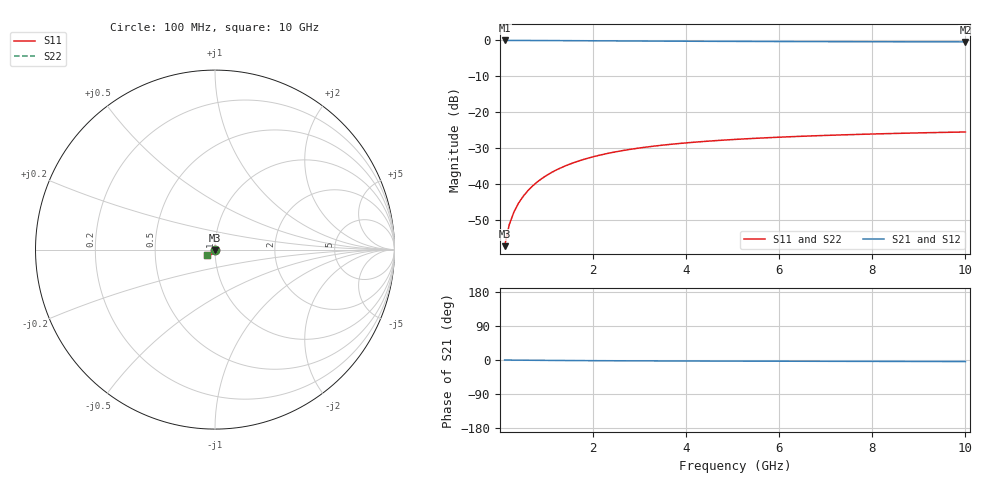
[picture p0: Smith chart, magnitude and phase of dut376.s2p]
! Touchstone file exported from HFSS 2024.1.0
!  File:  C:/UserFiles/LocalFiles/RDL_TSV_Batchsim/temp_TSV1_376_1779622369.aedt
!  Generated:  07:38:21 PM May 24, 2026
!  Design:  TSV1
!  Project:  temp_TSV1_376_1779622369
!  Setup:  Setup1
!  Solution:  Sweep
! Variables:
!  dtsv = 14.16um
!  hbump = 3um
!  htsv = 58.5um
!  lrdl = 252.1521522um
!  p = 40
!  p1 = 41.36um
!  t = 500um
!  trdl = 3um
!  wrdl = 24.89489489um
# GHz S MA R 50.000000
! Terminal data exported
! Port[1] = TSV22_T1
! Port[2] = TSV22_T2
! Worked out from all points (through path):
!   100 points, 100 MHz to 10 GHz, reference 50 ohm
!   highest |S21| = 0.00 dB at 100 MHz (marker M1); lowest = -0.4 dB at 10 GHz (marker M2)
!   lowest |S11| = -57.3 dB at 100 MHz (marker M3), VSWR 1.00, Z = 50 - j0.136 ohm
!   |S11| at or under -10 dB: start of sweep to end of sweep
!   |S22| runs from -57.3 to -25.5 dB; largest |S21 - S12| = 3.1e-15
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0.1  0.001358 -88.3  0.9999 -0.1  0.9999 -0.1  0.001358 -88.3
! Gamma 0 0 0 0
! Port Impedance 50 0 50 0
0.2  0.002711 -91.4  0.9998 -0.2  0.9998 -0.2  0.002711 -91.4
0.3  0.004061 -93.5  0.9996 -0.3  0.9996 -0.3  0.004061 -93.5
0.4  0.005405 -95.2  0.9994 -0.4  0.9994 -0.4  0.005405 -95.2
0.5  0.006738 -96.8  0.9991 -0.5  0.9991 -0.5  0.006738 -96.8
0.6  0.008058 -98.3  0.9987 -0.6  0.9987 -0.6  0.008058 -98.3
0.7  0.00936 -99.7  0.9983 -0.7  0.9983 -0.7  0.00936 -99.7
0.8  0.01064 -101.1  0.9978 -0.8  0.9978 -0.8  0.01064 -101.1
0.9  0.0119 -102.5  0.9972 -0.9  0.9972 -0.9  0.0119 -102.5
1.1  0.01434 -105.2  0.996 -1.1  0.996 -1.1  0.01434 -105.2
1.4  0.0178 -108.9  0.994 -1.3  0.994 -1.3  0.0178 -108.9
1.6  0.01995 -111.3  0.9925 -1.5  0.9925 -1.5  0.01995 -111.3
1.8  0.02198 -113.5  0.991 -1.6  0.991 -1.6  0.02198 -113.5
2.1  0.02479 -116.7  0.9887 -1.8  0.9887 -1.8  0.02479 -116.7
2.5  0.02813 -120.4  0.9856 -2.0  0.9856 -2.0  0.02813 -120.4
2.9  0.03105 -123.7  0.9827 -2.2  0.9827 -2.2  0.03105 -123.7
3.4  0.03419 -127.3  0.9793 -2.4  0.9793 -2.4  0.03419 -127.3
4.2  0.03829 -132.0  0.9744 -2.7  0.9744 -2.7  0.03829 -132.0
5.1  0.04191 -136.0  0.9699 -3.0  0.9699 -3.0  0.04191 -136.0
6.7  0.04673 -141.3  0.9636 -3.4  0.9636 -3.4  0.04673 -141.3
8.4  0.05042 -145.2  0.9587 -3.8  0.9587 -3.8  0.05041 -145.2
10  0.05301 -147.9  0.9553 -4.1  0.9553 -4.1  0.05301 -147.9
